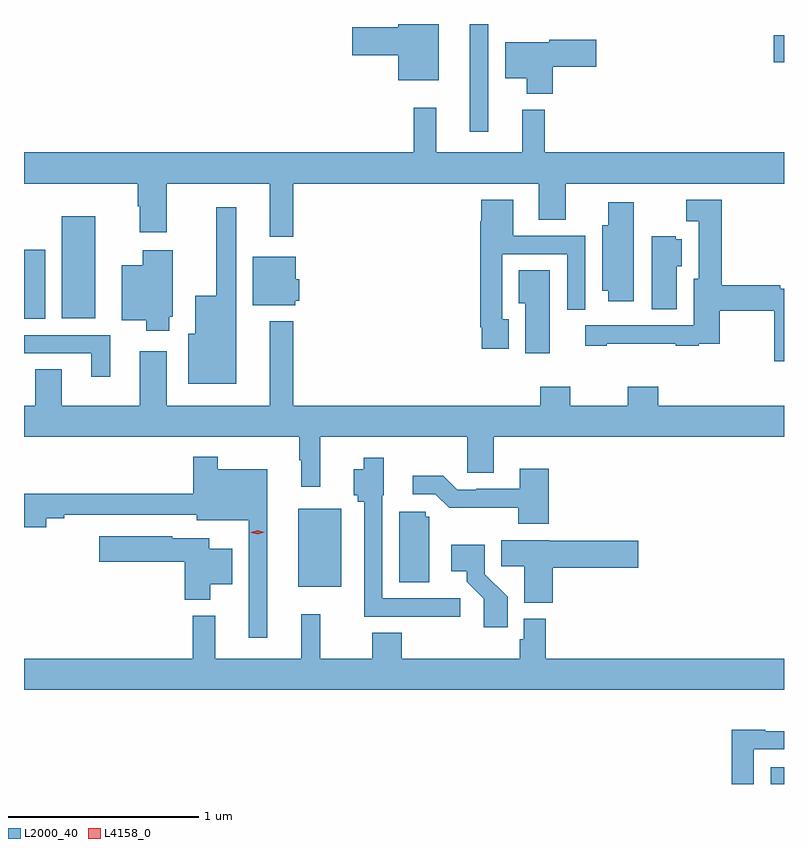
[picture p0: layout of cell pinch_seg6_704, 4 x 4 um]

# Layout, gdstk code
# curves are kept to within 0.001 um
import gdstk
lib = gdstk.Library(unit=1e-6, precision=1e-09)
def R(c, l, rs):  # rectangles x0, y0, x1, y1
    for r in rs: c.add(gdstk.rectangle(r[:2], r[2:], *l))
def P(c, l, *ps):  # polygons
    for p in ps: c.add(gdstk.Polygon(p, *l))
L2000_40 = (2000, 40)
L4158_0 = (4158, 0)

pinch_seg6_704 = lib.new_cell('pinch_seg6_704')
R(pinch_seg6_704, L2000_40, [(581.792,952.168,581.861,952.255), (579.305,953.207,579.532,953.617), (577.861,954.616,577.972,954.979), (578.06,954.62,578.236,955.156), (580.208,955.602,580.305,956.168), (581.808,955.966,581.861,956.108)])
P(pinch_seg6_704, L2000_40, [(580.045,956.168),(579.83,956.168),(579.83,956.15),(579.588,956.15),(579.588,956.003),(579.83,956.003),(579.83,955.871),(580.045,955.871)],
  [(580.643,955.942),(580.873,955.942),(580.873,956.084),(580.626,956.084),(580.626,956.071),(580.394,956.071),(580.394,955.883),(580.508,955.883),(580.508,955.802),(580.643,955.802)],
  [(579.277,955.328),(580.571,955.328),(580.571,955.138),(580.711,955.138),(580.711,955.328),(581.861,955.328),(581.861,955.492),(580.601,955.492),(580.601,955.717),(580.484,955.717),(580.484,955.492),(580.031,955.492),(580.031,955.726),(579.913,955.726),(579.913,955.492),(577.861,955.492),(577.861,955.328),(578.459,955.328),(578.459,955.208),(578.471,955.208),(578.471,955.071),(578.611,955.071),(578.611,955.328),(579.155,955.328),(579.155,955.047),(579.277,955.047)],
  [(581.861,954.774),(581.84,954.774),(581.84,954.794),(581.533,954.794),(581.533,955.243),(581.346,955.243),(581.346,955.13),(581.411,955.13),(581.411,954.828),(581.387,954.828),(581.387,954.582),(580.815,954.582),(580.815,954.474),(580.927,954.474),(580.927,954.484),(581.291,954.484),(581.291,954.474),(581.411,954.474),(581.411,954.486),(581.523,954.486),(581.523,954.658),(581.809,954.658),(581.809,954.393),(581.861,954.393)],
  [(580.411,954.615),(580.377,954.615),(580.377,954.957),(580.719,954.957),(580.719,954.663),(580.815,954.663),(580.815,955.053),(580.435,955.053),(580.435,955.243),(580.268,955.243),(580.268,955.13),(580.261,955.13),(580.261,954.571),(580.269,954.571),(580.269,954.459),(580.411,954.459)],
  [(581.071,955.231),(580.937,955.231),(580.937,955.108),(580.904,955.108),(580.904,954.764),(580.937,954.764),(580.937,954.708),(581.071,954.708)],
  [(578.977,955.204),(578.873,955.204),(578.873,954.739),(578.762,954.739),(578.762,954.538),(578.726,954.538),(578.726,954.275),(578.977,954.275)],
  [(581.296,954.894),(581.323,954.894),(581.323,955.034),(581.292,955.034),(581.292,955.051),(581.165,955.051),(581.165,954.667),(581.296,954.667)],
  [(578.626,954.627),(578.644,954.627),(578.644,954.976),(578.486,954.976),(578.486,954.898),(578.375,954.898),(578.375,954.608),(578.504,954.608),(578.504,954.554),(578.626,954.554)],
  [(579.288,954.711),(579.31,954.711),(579.31,954.825),(579.292,954.825),(579.292,954.943),(579.065,954.943),(579.065,954.689),(579.288,954.689)],
  [(580.627,954.872),(580.466,954.872),(580.466,954.698),(580.499,954.698),(580.499,954.435),(580.627,954.435)],
  [(579.42,953.996),(580.194,953.996),(580.194,953.806),(580.333,953.806),(580.333,953.996),(581.861,953.996),(581.861,954.16),(581.198,954.16),(581.198,954.259),(581.038,954.259),(581.038,954.16),(580.737,954.16),(580.737,954.259),(580.577,954.259),(580.577,954.16),(579.277,954.16),(579.277,954.604),(579.155,954.604),(579.155,954.16),(578.611,954.16),(578.611,954.445),(578.471,954.445),(578.471,954.16),(578.059,954.16),(578.059,954.35),(577.919,954.35),(577.919,954.16),(577.861,954.16),(577.861,953.996),(579.309,953.996),(579.309,953.873),(579.32,953.873),(579.32,953.733),(579.42,953.733)],
  [(578.314,954.531),(577.861,954.531),(577.861,954.435),(578.216,954.435),(578.216,954.312),(578.314,954.312)],
  [(579.142,953.824),(578.881,953.824),(578.881,953.89),(578.752,953.89),(578.752,953.695),(577.861,953.695),(577.861,953.519),(577.978,953.519),(577.978,953.566),(578.074,953.566),(578.074,953.586),(578.771,953.586),(578.771,953.555),(579.045,953.555),(579.045,952.938),(579.142,952.938)],
  [(580.156,953.145),(579.747,953.145),(579.747,953.688),(579.754,953.688),(579.754,953.884),(579.649,953.884),(579.649,953.824),(579.596,953.824),(579.596,953.688),(579.618,953.688),(579.618,953.654),(579.651,953.654),(579.651,953.049),(579.931,953.049),(579.931,953.047),(580.156,953.047)],
  [(580.622,953.827),(580.469,953.827),(580.469,953.721),(580.24,953.721),(580.24,953.718),(580.14,953.718),(580.067,953.791),(579.906,953.791),(579.906,953.694),(580.026,953.694),(580.099,953.621),(580.462,953.622),(580.462,953.537),(580.622,953.537)],
  [(579.994,953.574),(579.975,953.574),(579.975,953.601),(579.836,953.601),(579.836,953.23),(579.994,953.23)],
  [(578.842,953.219),(578.956,953.219),(578.956,953.407),(578.836,953.407),(578.836,953.461),(578.64,953.461),(578.64,953.473),(578.256,953.473),(578.256,953.339),(578.708,953.339),(578.708,953.138),(578.842,953.138)],
  [(580.643,953.305),(581.095,953.305),(581.095,953.447),(580.626,953.447),(580.626,953.452),(580.372,953.452),(580.372,953.314),(580.493,953.314),(580.493,953.123),(580.643,953.123)],
  [(580.406,953.154),(580.287,953.273),(580.287,953.428),(580.11,953.428),(580.11,953.288),(580.19,953.288),(580.19,953.233),(580.281,953.143),(580.281,952.992),(580.406,952.992)],
  [(581.861,952.828),(580.607,952.828),(580.607,953.038),(580.491,953.038),(580.491,952.929),(580.471,952.929),(580.471,952.828),(579.848,952.828),(579.848,952.964),(579.695,952.964),(579.695,952.828),(579.42,952.828),(579.42,953.062),(579.32,953.062),(579.32,952.828),(578.867,952.828),(578.867,953.053),(578.749,953.053),(578.749,952.828),(577.861,952.828),(577.861,952.664),(581.861,952.664)],
  [(581.703,952.35),(581.861,952.35),(581.861,952.446),(581.763,952.446),(581.763,952.453),(581.587,952.453),(581.587,952.168),(581.703,952.168)])
P(pinch_seg6_704, L4158_0, [(579.091,953.483),(579.056,953.491),(579.055,953.491),(579.056,953.492),(579.09,953.503),(579.126,953.494),(579.126,953.494),(579.126,953.494)])

lib.write_gds('pinch_seg6_704.gds')
